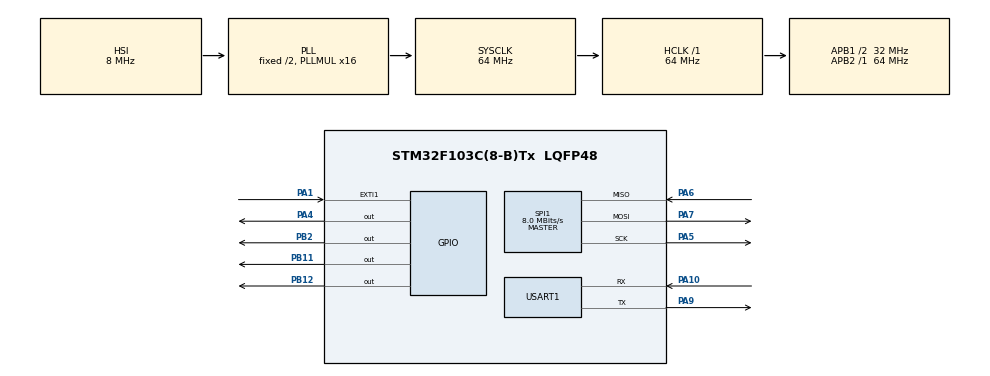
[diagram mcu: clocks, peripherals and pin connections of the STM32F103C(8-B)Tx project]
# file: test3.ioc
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Mcu.Family=STM32F1
Mcu.Name=STM32F103C(8-B)Tx
Mcu.Package=LQFP48
NVIC.EXTI1_IRQn=true\:1\:0\:true\:false\:true\:true\:true\:true
NVIC.PriorityGroup=NVIC_PRIORITYGROUP_4
NVIC.USART1_IRQn=true\:0\:0\:false\:false\:true\:true\:true\:true
PA1.GPIO_ModeDefaultEXTI=GPIO_MODE_IT_FALLING
PA1.Signal=GPXTI1
PA10.Mode=Asynchronous
PA10.Signal=USART1_RX
PA13.Mode=Serial_Wire
PA13.Signal=SYS_JTMS-SWDIO
PA14.Mode=Serial_Wire
PA14.Signal=SYS_JTCK-SWCLK
PA4.GPIO_Speed=GPIO_SPEED_FREQ_HIGH
PA4.PinState=GPIO_PIN_SET
PA4.Signal=GPIO_Output
PA5.Mode=Full_Duplex_Master
PA5.Signal=SPI1_SCK
PA6.Mode=Full_Duplex_Master
PA6.Signal=SPI1_MISO
PA7.Mode=Full_Duplex_Master
PA7.Signal=SPI1_MOSI
PA9.Mode=Asynchronous
PA9.Signal=USART1_TX
PB11.GPIO_PuPd=GPIO_PULLDOWN
PB11.GPIO_Speed=GPIO_SPEED_FREQ_HIGH
PB11.Signal=GPIO_Output
PB12.GPIO_PuPd=GPIO_PULLDOWN
PB12.GPIO_Speed=GPIO_SPEED_FREQ_HIGH
PB12.Signal=GPIO_Output
PB2.GPIO_PuPd=GPIO_PULLUP
PB2.Signal=GPIO_Output
ProjectManager.HeapSize=0x200
ProjectManager.StackSize=0x400
ProjectManager.TargetToolchain=MDK-ARM V5
RCC.AHBFreq_Value=64000000
RCC.APB1CLKDivider=RCC_HCLK_DIV2
RCC.APB1Freq_Value=32000000
RCC.APB1TimFreq_Value=64000000
RCC.APB2Freq_Value=64000000
RCC.APB2TimFreq_Value=64000000
RCC.HCLKFreq_Value=64000000
RCC.PLLMUL=RCC_PLL_MUL16
RCC.SYSCLKFreq_VALUE=64000000
RCC.SYSCLKSource=RCC_SYSCLKSOURCE_PLLCLK
RCC.USBFreq_Value=64000000
SPI1.BaudRatePrescaler=SPI_BAUDRATEPRESCALER_8
SPI1.CalculateBaudRate=8.0 MBits/s
SPI1.Direction=SPI_DIRECTION_2LINES
SPI1.Mode=SPI_MODE_MASTER
SPI1.VirtualType=VM_MASTER
TIM4.Prescaler=64-1
USART1.VirtualMode=VM_ASYNC
VP_TIM4_VS_ClockSourceINT.Mode=Internal
board=custom

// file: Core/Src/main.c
/* USER CODE BEGIN Header */
/**
  ******************************************************************************
  * @file           : main.c
  * @brief          : Main program body
  ******************************************************************************
  * @attention
  *
  * Copyright (c) 2024 STMicroelectronics.
  * All rights reserved.
  *
  * This software is licensed under terms that can be found in the LICENSE file
  * in the root directory of this software component.
  * If no LICENSE file comes with this software, it is provided AS-IS.
  *
  ******************************************************************************

  Pin:
  STM32F103C8T6-AD5941BATZ
  PA1---GPIO0
  PA4---SPI_CS(D10/P5-3)
  PA5---SPI_SCLK(D13/P5-4)
  PA6---SPI_MISO(D12/P5-5)
  PA7---SPI_MOSI(D11/P5-6)
  PB11---D3/P6-4
  PB12---D4/P6-5

  Use PA9 and PA10 for serial port output

  */
/* USER CODE END Header */
#include "main.h"
#include "spi.h"
#include "tim.h"
#include "usart.h"
#include "gpio.h"

/* USER CODE BEGIN Includes */
#include "stm32f1xx_it.h"
#include "ad5940.h"
#include "AD5940Function.h"
#include "PortF103Cn0510.h"
#include <stdlib.h>
#include "AD5940Function.h"
/* USER CODE END Includes */

/* USER CODE BEGIN PTD */
uint8_t aRxBuffer[RXBUFFERSIZE];//HAL库使用的串口接收缓冲

extern UART_HandleTypeDef huart1;
/* USER CODE END PTD */

void SystemClock_Config(void);

int main(void)
{

  /* MCU Configuration--------------------------------------------------------*/

  /* Reset of all peripherals, Initializes the Flash interface and the Systick. */
  HAL_Init();

  /* Configure the system clock */
  SystemClock_Config();

  /* Initialize all configured peripherals */
  MX_GPIO_Init();
  MX_SPI1_Init();
  MX_TIM4_Init();
  MX_USART1_UART_Init();
  /* USER CODE BEGIN 2 */
AD5940_messege();

AD5940_CsSet();
AD5940_RstSet();
  /* USER CODE END 2 */

  /* Infinite loop */
  /* USER CODE BEGIN WHILE */
//  AD5940_ADC();

AD5940_init_BATZ();
AD5940_RUN_BATZ();//在这个函数重复while循环；Repeat the while loop in this function；
  //while (1)
  {

    for(int i=0;i<=100;i++)
    delay_us(10000);

    /* USER CODE END WHILE */

  }
}

void SystemClock_Config(void)
{
  RCC_OscInitTypeDef RCC_OscInitStruct = {0};
  RCC_ClkInitTypeDef RCC_ClkInitStruct = {0};

  /** Initializes the RCC Oscillators according to the specified parameters
  * in the RCC_OscInitTypeDef structure.
  */
  RCC_OscInitStruct.OscillatorType = RCC_OSCILLATORTYPE_HSI;
  RCC_OscInitStruct.HSIState = RCC_HSI_ON;
  RCC_OscInitStruct.HSICalibrationValue = RCC_HSICALIBRATION_DEFAULT;
  RCC_OscInitStruct.PLL.PLLState = RCC_PLL_ON;
  RCC_OscInitStruct.PLL.PLLSource = RCC_PLLSOURCE_HSI_DIV2;
  RCC_OscInitStruct.PLL.PLLMUL = RCC_PLL_MUL16;
  if (HAL_RCC_OscConfig(&RCC_OscInitStruct) != HAL_OK)
  {
    Error_Handler();
  }

  /** Initializes the CPU, AHB and APB buses clocks
  */
  RCC_ClkInitStruct.ClockType = RCC_CLOCKTYPE_HCLK|RCC_CLOCKTYPE_SYSCLK
                              |RCC_CLOCKTYPE_PCLK1|RCC_CLOCKTYPE_PCLK2;
  RCC_ClkInitStruct.SYSCLKSource = RCC_SYSCLKSOURCE_PLLCLK;
  RCC_ClkInitStruct.AHBCLKDivider = RCC_SYSCLK_DIV1;
  RCC_ClkInitStruct.APB1CLKDivider = RCC_HCLK_DIV2;
  RCC_ClkInitStruct.APB2CLKDivider = RCC_HCLK_DIV1;

  if (HAL_RCC_ClockConfig(&RCC_ClkInitStruct, FLASH_LATENCY_2) != HAL_OK)
  {
    Error_Handler();
  }
}

void Error_Handler(void)
{
  /* USER CODE BEGIN Error_Handler_Debug */
  /* User can add his own implementation to report the HAL error return state */
  __disable_irq();
  while (1)
  {
    printf("error \r\n");
  }
  /* USER CODE END Error_Handler_Debug */
}
